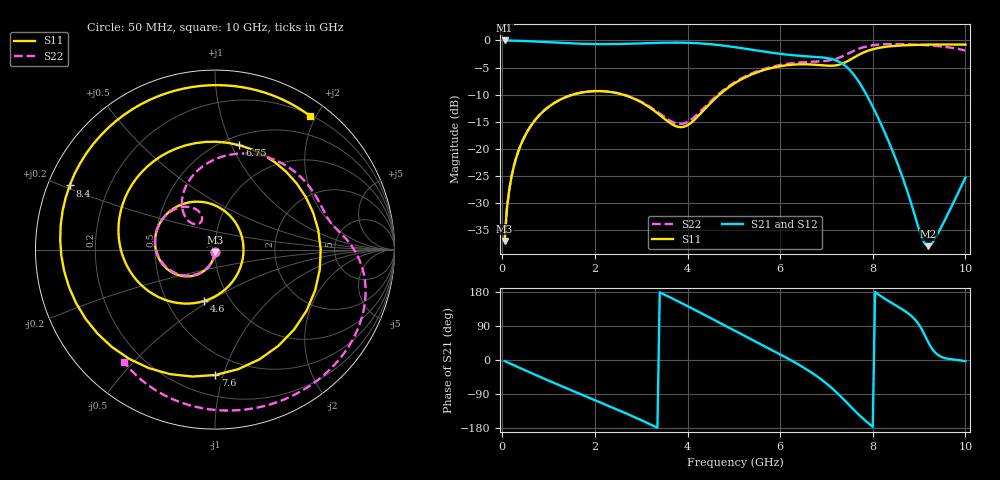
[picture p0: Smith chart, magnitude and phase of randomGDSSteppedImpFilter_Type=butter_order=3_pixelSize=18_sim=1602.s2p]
! freq	dB(S11)	phase(S11)	dB(S12)	phase(S12)
!  dB(S21)	phase(S21)	dB(S22)	phase(S22)
!S-par simulation data
#  GHz  S  DB  R 50
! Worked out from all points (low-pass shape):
!   200 points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, 50 MHz to 10 GHz, reference 50 ohm
!   highest |S21| = -0.01 dB at 50 MHz (marker M1); lowest = -37.9 dB at 9.2 GHz (marker M2)
!   |S21| within 3 dB of the highest: start of sweep to 6.734 GHz
!   lowest |S11| = -37.0 dB at 50 MHz (marker M3), VSWR 1.03, Z = 49.9 - j1.42 ohm
!   |S11| at or under -10 dB: start of sweep to 1.519 GHz; 2.61 GHz to 4.688 GHz (2.078 GHz wide, 56.9 % of centre)
!   |S22| runs from -37.0 to -0.7 dB; largest |S21 - S12| = 0
!   S11 on the Smith chart (normalised r, x): 50 MHz: 1.00, -0.03; 4.6 GHz: 0.76, -0.47; 6.75 GHz: 0.59, +1.07; 7.6 GHz: 0.35, -0.94; 8.4 GHz: 0.06, +0.21; 10 GHz: 0.21, +1.92
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0.05  -36.96 -92.4  -0.01 -2.8  -0.01 -2.8  -36.95 -92.5
0.2  -25.05 -101.1  -0.03 -11.1  -0.03 -11.1  -25.05 -101.6
0.5  -17.40 -117.5  -0.12 -27.6  -0.12 -27.6  -17.40 -118.6
1.15  -11.38 -151.8  -0.40 -62.2  -0.40 -62.2  -11.37 -153.9
1.75  -9.54 177.1  -0.63 -93.1  -0.63 -93.1  -9.53 175.5
2.55  -9.86 132.7  -0.65 -134.4  -0.65 -134.4  -9.81 137.8
3.4  -13.74 65.7  -0.44 178.5  -0.44 178.5  -13.48 111.6
3.95  -15.81 -16.3  -0.42 145.3  -0.42 145.3  -15.21 125.4
4.6  -10.68 -101.8  -0.78 104.2  -0.78 104.2  -10.39 127.4
5.05  -7.72 -139.9  -1.27 75.5  -1.27 75.5  -7.53 108.7
5.95  -4.83 153.6  -2.42 18.2  -2.42 18.2  -4.61 62.0
6.7  -4.45 83.2  -2.99 -35.1  -2.99 -35.1  -3.92 26.8
6.75  -4.48 76.8  -3.01 -39.2  -3.01 -39.2  -3.90 24.9
7  -4.65 39.0  -3.23 -62.1  -3.23 -62.1  -3.76 16.5
7.25  -4.52 -10.9  -3.84 -89.3  -3.84 -89.3  -3.26 9.5
7.6  -3.12 -89.8  -6.42 -132.5  -6.42 -132.5  -1.89 -3.8
7.95  -1.75 -151.9  -11.38 -171.3  -11.38 -171.3  -0.96 -22.7
8.35  -1.10 160.9  -18.76 154.9  -18.76 154.9  -0.68 -43.8
8.4  -1.06 156.2  -19.79 151.2  -19.79 151.2  -0.67 -46.3
8.8  -0.86 123.9  -29.22 119.7  -29.22 119.7  -0.73 -65.6
9.2  -0.77 97.9  -37.90 46.4  -37.90 46.4  -0.91 -84.5
10  -0.78 54.6  -25.29 -3.5  -25.29 -3.5  -1.88 -129.1
